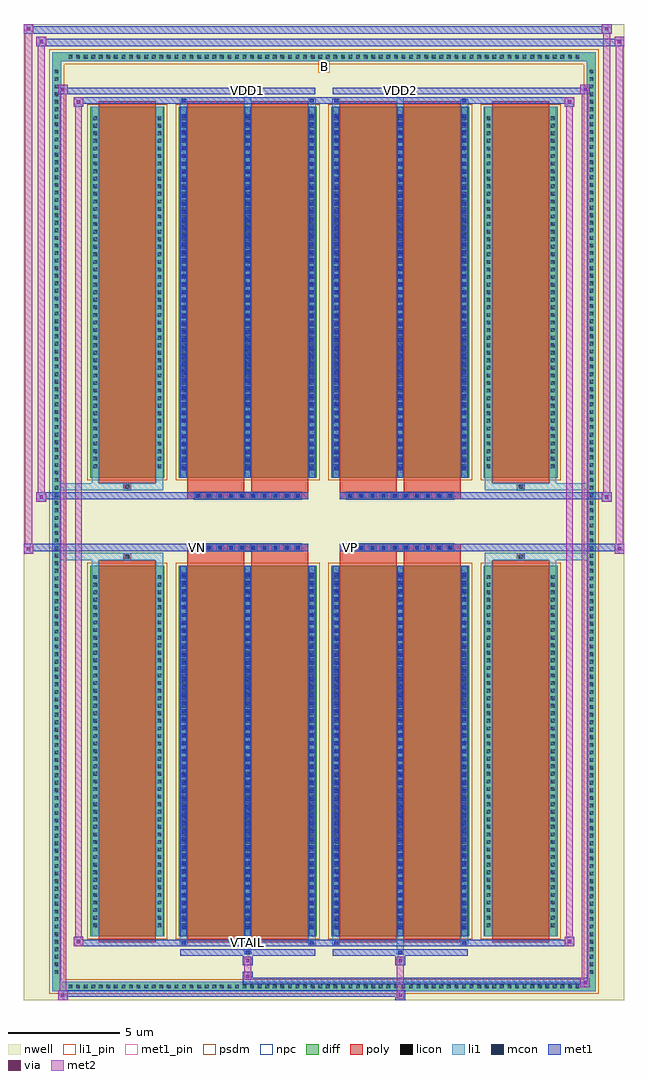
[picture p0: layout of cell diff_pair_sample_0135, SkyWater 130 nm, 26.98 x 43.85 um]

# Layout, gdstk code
import gdstk
lib = gdstk.Library(unit=1e-6, precision=5e-09)
def R(c, l, rs):  # rectangles x0, y0, x1, y1
    for r in rs: c.add(gdstk.rectangle(r[:2], r[2:], *l))
def A(c, l, x, y, w, h, nx, ny, dx, dy):  # array of equal rectangles
    R(c, l, [(x+i*dx, y+j*dy, x+i*dx+w, y+j*dy+h) for i in range(nx) for j in range(ny)])
def P(c, l, *ps):  # polygons
    for p in ps: c.add(gdstk.Polygon(p, *l))
nwell = (64, 20)
diff = (65, 20)
poly = (66, 20)
licon = (66, 44)
li1_pin = (67, 16)
li1 = (67, 20)
mcon = (67, 44)
met1_pin = (68, 16)
met1 = (68, 20)
via = (68, 44)
met2 = (69, 20)
psdm = (94, 20)
npc = (95, 20)

diff_pair_sample_0135 = lib.new_cell('diff_pair_sample_0135')
R(diff_pair_sample_0135, nwell, [(-13.49,-21.49,13.49,22.36), (-10.81,-19.68,-0.01,-0.8), (0.01,-19.68,10.81,-0.8), (-10.81,0.8,-0.01,19.68), (0.01,0.8,10.81,19.68)])
A(diff_pair_sample_0135, diff, -11.595, -21.09, 0.41, 0.41, 68, 2, 0.34, 41.77)
A(diff_pair_sample_0135, diff, -12.22, -20.435, 0.41, 0.41, 1, 120, 0, 0.34)
A(diff_pair_sample_0135, diff, 11.81, -20.435, 0.41, 0.41, 1, 120, 0, 0.34)
R(diff_pair_sample_0135, diff, [(-11.595,-21.09,11.595,-20.68), (-12.22,-20.435,-11.81,20.435), (11.81,-20.435,12.22,20.435), (-10.5,-18.635,-7.17,-1.985), (-6.53,-18.635,-0.32,-1.985), (0.32,-18.635,6.53,-1.985), (7.17,-18.635,10.5,-1.985), (-10.5,1.985,-7.17,18.635), (-6.53,1.985,-0.32,18.635), (0.32,1.985,6.53,18.635), (7.17,1.985,10.5,18.635), (-11.595,20.68,11.595,21.09)])
P(diff_pair_sample_0135, diff, [(12.22,21.09),(-12.22,21.09),(-12.22,-20.68),(-11.81,-20.68),(-11.81,20.68),(11.81,20.68),(11.81,-20.68),(-11.81,-20.68),(-12.22,-20.68),(-12.22,-21.09),(12.22,-21.09)])
A(diff_pair_sample_0135, poly, -5.84, -1.33, 0.33, 0.33, 10, 2, 0.5, 2.33)
A(diff_pair_sample_0135, poly, 1.01, -1.33, 0.33, 0.33, 10, 2, 0.5, 2.33)
R(diff_pair_sample_0135, poly, [(-10.11,-18.885,-7.56,-1.735), (-6.14,-18.885,-3.59,-1.735), (-3.26,-18.885,-0.71,-1.735), (0.71,-18.885,3.26,-1.735), (3.59,-18.885,6.14,-1.735), (7.56,-18.885,10.11,-1.735), (-9,-1.735,-8.67,-1.405), (-9,-1.735,-8.67,-1.405), (-6.14,-1.735,-3.59,-1.33), (-3.26,-1.735,-0.71,-1.33), (0.71,-1.735,3.26,-1.33), (3.59,-1.735,6.14,-1.33), (8.67,-1.735,9,-1.405), (8.67,-1.735,9,-1.405), (-6.14,-1.33,-0.71,-1), (0.71,-1.33,6.14,-1), (-6.14,1,-0.71,1.33), (0.71,1,6.14,1.33), (-6.14,1.33,-3.59,1.735), (-3.26,1.33,-0.71,1.735), (0.71,1.33,3.26,1.735), (3.59,1.33,6.14,1.735), (-9,1.405,-8.67,1.735), (-9,1.405,-8.67,1.735), (8.67,1.405,9,1.735), (8.67,1.405,9,1.735), (-10.11,1.735,-7.56,18.885), (-6.14,1.735,-3.59,18.885), (-3.26,1.735,-0.71,18.885), (0.71,1.735,3.26,18.885), (3.59,1.735,6.14,18.885), (7.56,1.735,10.11,18.885)])
A(diff_pair_sample_0135, licon, -11.475, -20.97, 0.17, 0.17, 68, 2, 0.34, 41.77)
A(diff_pair_sample_0135, licon, -12.1, -20.315, 0.17, 0.17, 1, 120, 0, 0.34)
A(diff_pair_sample_0135, licon, 11.93, -20.315, 0.17, 0.17, 1, 120, 0, 0.34)
A(diff_pair_sample_0135, licon, -10.36, -18.215, 0.17, 0.17, 1, 47, 0, 0.34)
A(diff_pair_sample_0135, licon, -7.48, -18.215, 0.17, 0.17, 1, 47, 0, 0.34)
A(diff_pair_sample_0135, licon, -6.39, -18.215, 0.17, 0.17, 3, 47, 2.88, 0.34)
A(diff_pair_sample_0135, licon, 0.46, -18.215, 0.17, 0.17, 3, 47, 2.88, 0.34)
A(diff_pair_sample_0135, licon, 7.31, -18.215, 0.17, 0.17, 1, 47, 0, 0.34)
A(diff_pair_sample_0135, licon, 10.19, -18.215, 0.17, 0.17, 1, 47, 0, 0.34)
A(diff_pair_sample_0135, licon, -5.76, -1.25, 0.17, 0.17, 10, 2, 0.5, 2.33)
A(diff_pair_sample_0135, licon, 1.09, -1.25, 0.17, 0.17, 10, 2, 0.5, 2.33)
A(diff_pair_sample_0135, licon, -10.36, 2.405, 0.17, 0.17, 1, 47, 0, 0.34)
A(diff_pair_sample_0135, licon, -7.48, 2.405, 0.17, 0.17, 1, 47, 0, 0.34)
A(diff_pair_sample_0135, licon, -6.39, 2.405, 0.17, 0.17, 3, 47, 2.88, 0.34)
A(diff_pair_sample_0135, licon, 0.46, 2.405, 0.17, 0.17, 3, 47, 2.88, 0.34)
A(diff_pair_sample_0135, licon, 7.31, 2.405, 0.17, 0.17, 1, 47, 0, 0.34)
A(diff_pair_sample_0135, licon, 10.19, 2.405, 0.17, 0.17, 1, 47, 0, 0.34)
R(diff_pair_sample_0135, licon, [(-8.92,-1.655,-8.75,-1.485), (8.75,-1.655,8.92,-1.485), (-8.92,1.485,-8.75,1.655), (8.75,1.485,8.92,1.655)])
R(diff_pair_sample_0135, li1_pin, [(-0.25,20.18,0.25,20.68)])
A(diff_pair_sample_0135, li1, -11.555, -21.05, 0.33, 0.33, 68, 2, 0.34, 41.77)
A(diff_pair_sample_0135, li1, -12.18, -20.395, 0.33, 0.33, 1, 120, 0, 0.34)
A(diff_pair_sample_0135, li1, 11.85, -20.395, 0.33, 0.33, 1, 120, 0, 0.34)
A(diff_pair_sample_0135, li1, -6.47, -18.635, 0.33, 16.65, 3, 2, 2.88, 20.62)
A(diff_pair_sample_0135, li1, 0.38, -18.635, 0.33, 16.65, 3, 2, 2.88, 20.62)
A(diff_pair_sample_0135, li1, -6.39, -18.315, 0.17, 0.17, 3, 45, 2.88, 0.36)
A(diff_pair_sample_0135, li1, -6.39, -18.315, 0.17, 16.01, 3, 2, 2.88, 20.62)
A(diff_pair_sample_0135, li1, 0.46, -18.315, 0.17, 0.17, 3, 45, 2.88, 0.36)
A(diff_pair_sample_0135, li1, 0.46, -18.315, 0.17, 16.01, 3, 2, 2.88, 20.62)
A(diff_pair_sample_0135, li1, -10.44, -18.295, 0.33, 0.33, 1, 47, 0, 0.34)
A(diff_pair_sample_0135, li1, -7.56, -18.295, 0.33, 0.33, 1, 47, 0, 0.34)
A(diff_pair_sample_0135, li1, -6.47, -18.295, 0.33, 0.33, 3, 47, 2.88, 0.34)
A(diff_pair_sample_0135, li1, 0.38, -18.295, 0.33, 0.33, 3, 47, 2.88, 0.34)
A(diff_pair_sample_0135, li1, 7.23, -18.295, 0.33, 0.33, 1, 47, 0, 0.34)
A(diff_pair_sample_0135, li1, 10.11, -18.295, 0.33, 0.33, 1, 47, 0, 0.34)
A(diff_pair_sample_0135, li1, -5.84, -1.33, 0.33, 0.33, 10, 2, 0.5, 2.33)
A(diff_pair_sample_0135, li1, 1.01, -1.33, 0.33, 0.33, 10, 2, 0.5, 2.33)
A(diff_pair_sample_0135, li1, -6.39, 2.305, 0.17, 0.17, 3, 45, 2.88, 0.36)
A(diff_pair_sample_0135, li1, 0.46, 2.305, 0.17, 0.17, 3, 45, 2.88, 0.36)
A(diff_pair_sample_0135, li1, -10.44, 2.325, 0.33, 0.33, 1, 47, 0, 0.34)
A(diff_pair_sample_0135, li1, -7.56, 2.325, 0.33, 0.33, 1, 47, 0, 0.34)
A(diff_pair_sample_0135, li1, -6.47, 2.325, 0.33, 0.33, 3, 47, 2.88, 0.34)
A(diff_pair_sample_0135, li1, 0.38, 2.325, 0.33, 0.33, 3, 47, 2.88, 0.34)
A(diff_pair_sample_0135, li1, 7.23, 2.325, 0.33, 0.33, 1, 47, 0, 0.34)
A(diff_pair_sample_0135, li1, 10.11, 2.325, 0.33, 0.33, 1, 47, 0, 0.34)
R(diff_pair_sample_0135, li1, [(-12.22,-21.09,-11.81,-20.68), (-12.22,-21.09,-11.81,-20.68), (-11.81,-21.09,11.81,-20.68), (11.81,-21.09,12.22,-20.68), (11.81,-21.09,12.22,-20.68), (-12.22,-20.68,-11.81,20.68), (11.81,-20.68,12.22,20.68), (-3.59,-19.44,-3.26,-18.635), (-3.51,-19.44,-3.34,-19.27), (3.26,-19.44,3.59,-18.635), (3.34,-19.44,3.51,-19.27), (-6.47,-19.01,-6.14,-18.635), (-6.39,-19.01,-6.22,-18.84), (-0.71,-19.01,-0.38,-18.635), (-0.63,-19.01,-0.46,-18.84), (0.38,-19.01,0.71,-18.635), (0.46,-19.01,0.63,-18.84), (6.14,-19.01,6.47,-18.635), (6.22,-19.01,6.39,-18.84), (-10.44,-18.635,-10.11,-1.985), (-7.56,-18.635,-7.23,-1.985), (7.23,-18.635,7.56,-1.985), (10.11,-18.635,10.44,-1.985), (-10.44,-1.985,-10.11,-1.405), (-7.56,-1.985,-7.23,-1.405), (7.23,-1.985,7.56,-1.405), (10.11,-1.985,10.44,-1.405), (-12.22,-1.735,-9,-1.405), (-10.44,-1.735,-9,-1.405), (-9,-1.735,-8.67,-1.405), (-8.67,-1.735,-7.23,-1.405), (7.23,-1.735,8.67,-1.405), (8.67,-1.735,9,-1.405), (8.67,-1.735,12.22,-1.405), (9,-1.735,10.44,-1.405), (-12.22,1.405,-9,1.735), (-10.44,1.405,-9,1.735), (-10.44,1.405,-10.11,1.985), (-9,1.405,-8.67,1.735), (-8.67,1.405,-7.23,1.735), (-7.56,1.405,-7.23,1.985), (7.23,1.405,8.67,1.735), (7.23,1.405,7.56,1.985), (8.67,1.405,9,1.735), (8.67,1.405,12.22,1.735), (9,1.405,10.44,1.735), (10.11,1.405,10.44,1.985), (-10.44,1.985,-10.11,18.635), (-7.56,1.985,-7.23,18.635), (7.23,1.985,7.56,18.635), (10.11,1.985,10.44,18.635), (-6.47,18.635,-6.14,19.01), (-3.59,18.635,-3.26,19.44), (-0.71,18.635,-0.38,19.01), (0.38,18.635,0.71,19.01), (3.26,18.635,3.59,19.44), (6.14,18.635,6.47,19.01), (-6.39,18.84,-6.22,19.01), (-0.63,18.84,-0.46,19.01), (0.46,18.84,0.63,19.01), (6.22,18.84,6.39,19.01), (-3.51,19.27,-3.34,19.44), (3.34,19.27,3.51,19.44), (-12.22,20.68,-11.81,21.09), (-12.22,20.68,-11.81,21.09), (-11.81,20.68,11.81,21.09), (11.81,20.68,12.22,21.09), (11.81,20.68,12.22,21.09)])
A(diff_pair_sample_0135, mcon, -6.39, -18.315, 0.17, 0.17, 3, 45, 2.88, 0.36)
A(diff_pair_sample_0135, mcon, 0.46, -18.315, 0.17, 0.17, 3, 45, 2.88, 0.36)
A(diff_pair_sample_0135, mcon, -5.76, -1.25, 0.17, 0.17, 10, 2, 0.5, 2.33)
A(diff_pair_sample_0135, mcon, 1.09, -1.25, 0.17, 0.17, 10, 2, 0.5, 2.33)
A(diff_pair_sample_0135, mcon, -6.39, 2.305, 0.17, 0.17, 3, 45, 2.88, 0.36)
A(diff_pair_sample_0135, mcon, 0.46, 2.305, 0.17, 0.17, 3, 45, 2.88, 0.36)
R(diff_pair_sample_0135, mcon, [(-3.51,-19.44,-3.34,-19.27), (3.34,-19.44,3.51,-19.27), (-6.39,-19.01,-6.22,-18.84), (-0.63,-19.01,-0.46,-18.84), (0.46,-19.01,0.63,-18.84), (6.22,-19.01,6.39,-18.84), (-6.39,18.84,-6.22,19.01), (-0.63,18.84,-0.46,19.01), (0.46,18.84,0.63,19.01), (6.22,18.84,6.39,19.01), (-3.51,19.27,-3.34,19.44), (3.34,19.27,3.51,19.44)])
R(diff_pair_sample_0135, met1_pin, [(-3.56,-19.05,-3.29,-18.78), (-5.81,-1.29,-5.54,-1.02), (1.04,-1.29,1.31,-1.02), (-3.56,19.23,-3.29,19.5), (3.29,19.23,3.56,19.5)])
A(diff_pair_sample_0135, met1, -6.45, -18.635, 0.29, 16.65, 3, 2, 2.88, 20.62)
A(diff_pair_sample_0135, met1, 0.4, -18.635, 0.29, 16.65, 3, 2, 2.88, 20.62)
A(diff_pair_sample_0135, met1, -6.45, -18.375, 0.29, 0.29, 3, 45, 2.88, 0.36)
A(diff_pair_sample_0135, met1, 0.4, -18.375, 0.29, 0.29, 3, 45, 2.88, 0.36)
A(diff_pair_sample_0135, met1, -5.82, -1.31, 0.29, 0.29, 10, 2, 0.5, 2.33)
A(diff_pair_sample_0135, met1, 1.03, -1.31, 0.29, 0.29, 10, 2, 0.5, 2.33)
A(diff_pair_sample_0135, met1, -6.45, 2.245, 0.29, 0.29, 3, 45, 2.88, 0.36)
A(diff_pair_sample_0135, met1, 0.4, 2.245, 0.29, 0.29, 3, 45, 2.88, 0.36)
R(diff_pair_sample_0135, met1, [(-11.95,-21.49,-11.52,-21.06), (3.21,-21.49,3.64,-21.06), (-11.95,-21.35,3.64,-21.06), (11.52,-20.92,11.95,-20.49), (-3.64,-20.78,11.95,-20.49), (-3.64,-20.64,-3.21,-20.21), (-3.64,-19.93,-3.21,-19.5), (3.21,-19.93,3.64,-19.5), (-6.45,-19.5,-0.4,-19.21), (-3.57,-19.5,-3.28,-19.21), (0.4,-19.5,6.45,-19.21), (3.28,-19.5,3.57,-19.21), (-11.24,-19.07,-10.81,-18.64), (-11.24,-19.07,-6.45,-18.78), (-6.45,-19.07,-6.16,-18.78), (-6.45,-19.07,-0.4,-18.78), (-0.69,-19.07,-0.4,-18.78), (-0.4,-19.07,0.4,-18.78), (0.4,-19.07,0.69,-18.78), (0.4,-19.07,6.45,-18.78), (6.16,-19.07,6.45,-18.78), (6.45,-19.07,11.24,-18.78), (10.81,-19.07,11.24,-18.64), (-13.49,-1.43,-13.06,-1), (13.06,-1.43,13.49,-1), (-13.49,-1.33,-0.71,-1), (-6.14,-1.33,-0.71,-1), (0.71,-1.33,6.14,-1), (0.71,-1.33,13.49,-1), (-12.92,0.9,-12.49,1.33), (12.49,0.9,12.92,1.33), (-12.92,1,-6.14,1.33), (-6.14,1,-0.71,1.33), (0.71,1,6.14,1.33), (6.14,1,12.92,1.33), (-11.24,18.64,-10.81,19.07), (10.81,18.64,11.24,19.07), (-11.24,18.78,-6.45,19.07), (-6.45,18.78,-6.16,19.07), (-6.45,18.78,-0.4,19.07), (-0.69,18.78,-0.4,19.07), (-0.4,18.78,0.4,19.07), (0.4,18.78,0.69,19.07), (0.4,18.78,6.45,19.07), (6.16,18.78,6.45,19.07), (6.45,18.78,11.24,19.07), (-11.95,19.21,-11.52,19.64), (-11.95,19.21,-6.45,19.5), (-6.45,19.21,-0.4,19.5), (-3.57,19.21,-3.28,19.5), (0.4,19.21,6.45,19.5), (3.28,19.21,3.57,19.5), (6.45,19.21,11.95,19.5), (11.52,19.21,11.95,19.64), (-12.92,21.36,-12.49,21.79), (-12.92,21.36,-10.81,21.69), (-10.81,21.36,10.81,21.69), (10.81,21.36,13.49,21.69), (13.06,21.36,13.49,21.79), (-13.49,21.93,-13.06,22.36), (-13.49,21.93,-10.81,22.26), (-10.81,21.93,10.81,22.26), (10.81,21.93,12.92,22.26), (12.49,21.93,12.92,22.36)])
R(diff_pair_sample_0135, via, [(-11.81,-21.35,-11.66,-21.2), (3.35,-21.35,3.5,-21.2), (11.66,-20.78,11.81,-20.63), (-3.5,-20.5,-3.35,-20.35), (-3.5,-19.79,-3.35,-19.64), (3.35,-19.79,3.5,-19.64), (-11.1,-18.93,-10.95,-18.78), (10.95,-18.93,11.1,-18.78), (-13.35,-1.29,-13.2,-1.14), (13.2,-1.29,13.35,-1.14), (-12.78,1.04,-12.63,1.19), (12.63,1.04,12.78,1.19), (-11.1,18.78,-10.95,18.93), (10.95,18.78,11.1,18.93), (-11.81,19.35,-11.66,19.5), (11.66,19.35,11.81,19.5), (-12.78,21.5,-12.63,21.65), (13.2,21.5,13.35,21.65), (-13.35,22.07,-13.2,22.22), (12.63,22.07,12.78,22.22)])
R(diff_pair_sample_0135, met2, [(-11.95,-21.49,-11.52,-21.06), (-11.88,-21.49,-11.59,19.64), (-11.59,-21.49,-11.52,-21.06), (-11.9,-21.44,-11.57,-21.11), (3.26,-21.44,3.59,-21.11), (3.26,-21.11,3.59,-19.88), (11.52,-20.92,11.95,-20.49), (11.59,-20.92,11.88,19.64), (11.88,-20.92,11.95,-20.49), (11.57,-20.87,11.9,-20.54), (-3.59,-20.59,-3.26,-20.26), (-3.59,-20.26,-3.26,-19.88), (-3.59,-19.88,-3.26,-19.55), (3.26,-19.88,3.59,-19.55), (-11.24,-19.07,-10.81,-18.64), (-11.17,-19.07,-10.88,19.07), (-10.88,-19.07,-10.81,-18.64), (10.81,-19.07,11.24,-18.64), (10.88,-19.07,11.17,19.07), (11.17,-19.07,11.24,-18.64), (-11.19,-19.02,-10.86,-18.69), (10.86,-19.02,11.19,-18.69), (-13.49,-1.43,-13.06,-1), (-13.44,-1.43,-13.11,22.36), (-13.11,-1.43,-13.06,-1), (13.06,-1.43,13.49,-1), (13.11,-1.43,13.44,21.79), (13.44,-1.43,13.49,-1), (-13.44,-1.38,-13.11,-1.05), (13.11,-1.38,13.44,-1.05), (-12.92,0.9,-12.49,1.33), (-12.87,0.9,-12.54,21.79), (-12.54,0.9,-12.49,1.33), (12.49,0.9,12.92,1.33), (12.54,0.9,12.87,22.36), (12.87,0.9,12.92,1.33), (-12.87,0.95,-12.54,1.28), (12.54,0.95,12.87,1.28), (-11.24,18.64,-10.81,19.07), (-10.88,18.64,-10.81,19.07), (10.81,18.64,11.24,19.07), (11.17,18.64,11.24,19.07), (-11.19,18.69,-10.86,19.02), (10.86,18.69,11.19,19.02), (-11.95,19.21,-11.52,19.64), (-11.59,19.21,-11.52,19.64), (11.52,19.21,11.95,19.64), (11.88,19.21,11.95,19.64), (-11.9,19.26,-11.57,19.59), (11.57,19.26,11.9,19.59), (-12.92,21.36,-12.49,21.79), (-12.54,21.36,-12.49,21.79), (13.06,21.36,13.49,21.79), (13.44,21.36,13.49,21.79), (-12.87,21.41,-12.54,21.74), (13.11,21.41,13.44,21.74), (-13.49,21.93,-13.06,22.36), (-13.11,21.93,-13.06,22.36), (12.49,21.93,12.92,22.36), (12.87,21.93,12.92,22.36), (-13.44,21.98,-13.11,22.31), (12.54,21.98,12.87,22.31)])
R(diff_pair_sample_0135, psdm, [(-10.63,-18.765,-7.04,-1.855), (-6.66,-18.765,-0.19,-1.855), (0.19,-18.765,6.66,-1.855), (7.04,-18.765,10.63,-1.855), (-10.63,1.855,-7.04,18.765), (-6.66,1.855,-0.19,18.765), (0.19,1.855,6.66,18.765), (7.04,1.855,10.63,18.765)])
P(diff_pair_sample_0135, psdm, [(12.35,21.22),(-12.35,21.22),(-12.35,-20.55),(-11.68,-20.55),(-11.68,20.55),(11.68,20.55),(11.68,-20.55),(-11.68,-20.55),(-12.35,-20.55),(-12.35,-21.22),(12.35,-21.22)])
A(diff_pair_sample_0135, npc, -5.86, -1.35, 0.37, 0.37, 10, 2, 0.5, 2.33)
A(diff_pair_sample_0135, npc, 0.99, -1.35, 0.37, 0.37, 10, 2, 0.5, 2.33)
R(diff_pair_sample_0135, npc, [(-9.02,-1.755,-8.65,-1.385), (8.65,-1.755,9.02,-1.385), (-5.86,-1.35,-4.99,-0.98), (-5.86,-1.35,-4.99,-0.98), (-5.36,-1.35,-4.49,-0.98), (-5.36,-1.35,-4.49,-0.98), (-4.86,-1.35,-3.99,-0.98), (-4.86,-1.35,-3.99,-0.98), (-4.36,-1.35,-3.49,-0.98), (-4.36,-1.35,-3.49,-0.98), (-3.86,-1.35,-2.99,-0.98), (-3.86,-1.35,-2.99,-0.98), (-3.36,-1.35,-2.49,-0.98), (-3.36,-1.35,-2.49,-0.98), (-2.86,-1.35,-1.99,-0.98), (-2.86,-1.35,-1.99,-0.98), (-2.36,-1.35,-1.49,-0.98), (-2.36,-1.35,-1.49,-0.98), (-1.86,-1.35,-0.99,-0.98), (-1.86,-1.35,-0.99,-0.98), (0.99,-1.35,1.86,-0.98), (0.99,-1.35,1.86,-0.98), (1.49,-1.35,2.36,-0.98), (1.49,-1.35,2.36,-0.98), (1.99,-1.35,2.86,-0.98), (1.99,-1.35,2.86,-0.98), (2.49,-1.35,3.36,-0.98), (2.49,-1.35,3.36,-0.98), (2.99,-1.35,3.86,-0.98), (2.99,-1.35,3.86,-0.98), (3.49,-1.35,4.36,-0.98), (3.49,-1.35,4.36,-0.98), (3.99,-1.35,4.86,-0.98), (3.99,-1.35,4.86,-0.98), (4.49,-1.35,5.36,-0.98), (4.49,-1.35,5.36,-0.98), (4.99,-1.35,5.86,-0.98), (4.99,-1.35,5.86,-0.98), (-5.86,0.98,-4.99,1.35), (-5.86,0.98,-4.99,1.35), (-5.36,0.98,-4.49,1.35), (-5.36,0.98,-4.49,1.35), (-4.86,0.98,-3.99,1.35), (-4.86,0.98,-3.99,1.35), (-4.36,0.98,-3.49,1.35), (-4.36,0.98,-3.49,1.35), (-3.86,0.98,-2.99,1.35), (-3.86,0.98,-2.99,1.35), (-3.36,0.98,-2.49,1.35), (-3.36,0.98,-2.49,1.35), (-2.86,0.98,-1.99,1.35), (-2.86,0.98,-1.99,1.35), (-2.36,0.98,-1.49,1.35), (-2.36,0.98,-1.49,1.35), (-1.86,0.98,-0.99,1.35), (-1.86,0.98,-0.99,1.35), (0.99,0.98,1.86,1.35), (0.99,0.98,1.86,1.35), (1.49,0.98,2.36,1.35), (1.49,0.98,2.36,1.35), (1.99,0.98,2.86,1.35), (1.99,0.98,2.86,1.35), (2.49,0.98,3.36,1.35), (2.49,0.98,3.36,1.35), (2.99,0.98,3.86,1.35), (2.99,0.98,3.86,1.35), (3.49,0.98,4.36,1.35), (3.49,0.98,4.36,1.35), (3.99,0.98,4.86,1.35), (3.99,0.98,4.86,1.35), (4.49,0.98,5.36,1.35), (4.49,0.98,5.36,1.35), (4.99,0.98,5.86,1.35), (4.99,0.98,5.86,1.35), (-9.02,1.385,-8.65,1.755), (8.65,1.385,9.02,1.755)])
diff_pair_sample_0135.add(gdstk.Label('VTAIL', (-3.425,-18.915), layer=68, texttype=5))
diff_pair_sample_0135.add(gdstk.Label('VN', (-5.675,-1.155), layer=68, texttype=5))
diff_pair_sample_0135.add(gdstk.Label('VP', (1.175,-1.155), layer=68, texttype=5))
diff_pair_sample_0135.add(gdstk.Label('B', (0,20.43), layer=67, texttype=5))
diff_pair_sample_0135.add(gdstk.Label('VDD2', (3.425,19.365), layer=68, texttype=5))
diff_pair_sample_0135.add(gdstk.Label('VDD1', (-3.425,19.365), layer=68, texttype=5))

lib.write_gds('diff_pair_sample_0135.gds')
